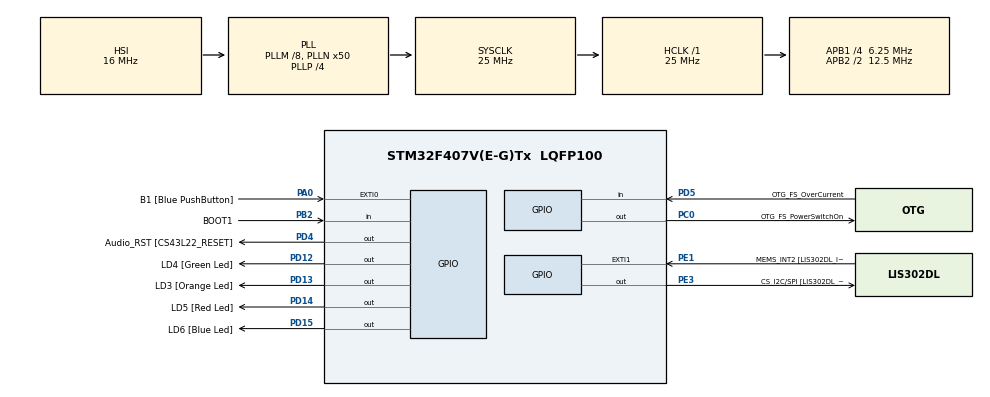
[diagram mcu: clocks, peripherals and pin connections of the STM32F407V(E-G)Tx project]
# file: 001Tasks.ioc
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Mcu.Family=STM32F4
Mcu.Name=STM32F407V(E-G)Tx
Mcu.Package=LQFP100
NVIC.PriorityGroup=NVIC_PRIORITYGROUP_0
NVIC.TIM6_DAC_IRQn=true\:0\:0\:false\:false\:true\:false\:true\:true
NVIC.TimeBase=TIM6_DAC_IRQn
NVIC.TimeBaseIP=TIM6
PA0-WKUP.GPIO_Label=B1 [Blue PushButton]
PA0-WKUP.Signal=GPXTI0
PA10.GPIO_Label=OTG_FS_ID
PA10.GPIO_Mode=GPIO_MODE_AF_PP
PA10.GPIO_PuPd=GPIO_NOPULL
PA10.GPIO_Speed=GPIO_SPEED_FREQ_LOW
PA10.Signal=USB_OTG_FS_ID
PA11.GPIO_Label=OTG_FS_DM
PA11.GPIO_Mode=GPIO_MODE_AF_PP
PA11.GPIO_PuPd=GPIO_NOPULL
PA11.GPIO_Speed=GPIO_SPEED_FREQ_LOW
PA11.Signal=USB_OTG_FS_DM
PA12.GPIO_Label=OTG_FS_DP
PA12.GPIO_Mode=GPIO_MODE_AF_PP
PA12.GPIO_PuPd=GPIO_NOPULL
PA12.GPIO_Speed=GPIO_SPEED_FREQ_LOW
PA12.Signal=USB_OTG_FS_DP
PA13.GPIO_Label=SWDIO
PA13.Signal=SYS_JTMS-SWDIO
PA14.GPIO_Label=SWCLK
PA14.Signal=SYS_JTCK-SWCLK
PA4.GPIO_Label=I2S3_WS [CS43L22_LRCK]
PA4.GPIO_Mode=GPIO_MODE_AF_PP
PA4.GPIO_PuPd=GPIO_NOPULL
PA4.GPIO_Speed=GPIO_SPEED_FREQ_LOW
PA4.Signal=I2S3_WS
PA5.GPIO_Label=SPI1_SCK [LIS302DL_SCL/SPC]
PA5.GPIO_Mode=GPIO_MODE_AF_PP
PA5.GPIO_PuPd=GPIO_NOPULL
PA5.GPIO_Speed=GPIO_SPEED_FREQ_LOW
PA5.Signal=SPI1_SCK
PA6.GPIO_Label=SPI1_MISO [LIS302DL_SDO]
PA6.GPIO_Mode=GPIO_MODE_AF_PP
PA6.GPIO_PuPd=GPIO_NOPULL
PA6.GPIO_Speed=GPIO_SPEED_FREQ_LOW
PA6.Signal=SPI1_MISO
PA7.GPIO_Label=SPI1_MOSI [LIS302DL_SDA/SDI/SDO]
PA7.GPIO_Mode=GPIO_MODE_AF_PP
PA7.GPIO_PuPd=GPIO_NOPULL
PA7.GPIO_Speed=GPIO_SPEED_FREQ_LOW
PA7.Signal=SPI1_MOSI
PA9.GPIO_Label=VBUS_FS
PA9.GPIO_Mode=GPIO_MODE_INPUT
PA9.GPIO_PuPd=GPIO_NOPULL
PA9.Signal=USB_OTG_FS_VBUS
PB10.GPIO_Label=CLK_IN [MP45DT02_CLK]
PB10.GPIO_Mode=GPIO_MODE_AF_PP
PB10.GPIO_PuPd=GPIO_NOPULL
PB10.GPIO_Speed=GPIO_SPEED_FREQ_LOW
PB10.Signal=I2S2_CK
PB2.GPIO_Label=BOOT1
PB2.GPIO_Mode=GPIO_MODE_INPUT
PB2.GPIO_PuPd=GPIO_NOPULL
PB2.Signal=GPIO_Input
PB3.GPIO_Label=SWO
PB3.Signal=SYS_JTDO-SWO
PB6.GPIO_Label=Audio_SCL [CS43L22_SCL]
PB6.GPIO_Mode=GPIO_MODE_AF_OD
PB6.GPIO_PuPd=GPIO_NOPULL
PB6.GPIO_Speed=GPIO_SPEED_FREQ_LOW
PB6.Signal=I2C1_SCL
PB9.GPIO_Label=Audio_SDA [CS43L22_SDA]
PB9.GPIO_Mode=GPIO_MODE_AF_OD
PB9.GPIO_PuPd=GPIO_NOPULL
PB9.GPIO_Speed=GPIO_SPEED_FREQ_LOW
PB9.Signal=I2C1_SDA
PC0.GPIO_Label=OTG_FS_PowerSwitchOn
PC0.GPIO_PuPd=GPIO_NOPULL
PC0.GPIO_Speed=GPIO_SPEED_FREQ_LOW
PC0.PinState=GPIO_PIN_SET
PC0.Signal=GPIO_Output
PC10.GPIO_Label=I2S3_SCK [CS43L22_SCLK]
PC10.GPIO_Mode=GPIO_MODE_AF_PP
PC10.GPIO_PuPd=GPIO_NOPULL
PC10.GPIO_Speed=GPIO_SPEED_FREQ_LOW
PC10.Signal=I2S3_CK
PC12.GPIO_Label=I2S3_SD [CS43L22_SDIN]
PC12.GPIO_Mode=GPIO_MODE_AF_PP
PC12.GPIO_PuPd=GPIO_NOPULL
PC12.GPIO_Speed=GPIO_SPEED_FREQ_LOW
PC12.Signal=I2S3_SD
PC14-OSC32_IN.GPIO_Label=PC14-OSC32_IN
PC14-OSC32_IN.Signal=RCC_OSC32_IN
PC15-OSC32_OUT.GPIO_Label=PC15-OSC32_OUT
PC15-OSC32_OUT.Signal=RCC_OSC32_OUT
PC3.GPIO_Label=PDM_OUT [MP45DT02_DOUT]
PC3.GPIO_Mode=GPIO_MODE_AF_PP
PC3.GPIO_PuPd=GPIO_NOPULL
PC3.GPIO_Speed=GPIO_SPEED_FREQ_LOW
PC3.Signal=I2S2_SD
PC7.GPIO_Label=I2S3_MCK [CS43L22_MCLK]
PC7.GPIO_Mode=GPIO_MODE_AF_PP
PC7.GPIO_PuPd=GPIO_NOPULL
PC7.GPIO_Speed=GPIO_SPEED_FREQ_LOW
PC7.Signal=I2S3_MCK
PD12.GPIO_Label=LD4 [Green Led]
PD12.GPIO_PuPd=GPIO_NOPULL
PD12.GPIO_Speed=GPIO_SPEED_FREQ_LOW
PD12.Signal=GPIO_Output
PD13.GPIO_Label=LD3 [Orange Led]
PD13.GPIO_PuPd=GPIO_NOPULL
PD13.GPIO_Speed=GPIO_SPEED_FREQ_LOW
PD13.Signal=GPIO_Output
PD14.GPIO_Label=LD5 [Red Led]
PD14.GPIO_PuPd=GPIO_NOPULL
PD14.GPIO_Speed=GPIO_SPEED_FREQ_LOW
PD14.Signal=GPIO_Output
PD15.GPIO_Label=LD6 [Blue Led]
PD15.GPIO_PuPd=GPIO_NOPULL
PD15.GPIO_Speed=GPIO_SPEED_FREQ_LOW
PD15.Signal=GPIO_Output
PD4.GPIO_Label=Audio_RST [CS43L22_RESET]
PD4.GPIO_PuPd=GPIO_NOPULL
PD4.GPIO_Speed=GPIO_SPEED_FREQ_LOW
PD4.Signal=GPIO_Output
PD5.GPIO_Label=OTG_FS_OverCurrent
PD5.GPIO_Mode=GPIO_MODE_INPUT
PD5.GPIO_PuPd=GPIO_NOPULL
PD5.Signal=GPIO_Input
PE1.GPIO_Label=MEMS_INT2 [LIS302DL_INT2]
PE1.GPIO_ModeDefaultEXTI=GPIO_MODE_EVT_RISING
PE1.GPIO_PuPd=GPIO_NOPULL
PE1.Signal=GPXTI1
PE3.GPIO_Label=CS_I2C/SPI [LIS302DL_CS_I2C/SPI]
PE3.GPIO_PuPd=GPIO_NOPULL
PE3.GPIO_Speed=GPIO_SPEED_FREQ_LOW
PE3.Signal=GPIO_Output
PH0-OSC_IN.GPIO_Label=PH0-OSC_IN
PH0-OSC_IN.Signal=RCC_OSC_IN
PH1-OSC_OUT.GPIO_Label=PH1-OSC_OUT
PH1-OSC_OUT.Signal=RCC_OSC_OUT
ProjectManager.HeapSize=0x200
ProjectManager.StackSize=0x400
ProjectManager.TargetToolchain=STM32CubeIDE
RCC.48MHZClocksFreq_Value=14285714.285714285
RCC.AHBFreq_Value=25000000
RCC.APB1CLKDivider=RCC_HCLK_DIV4
RCC.APB1Freq_Value=6250000
RCC.APB1TimFreq_Value=12500000
RCC.APB2CLKDivider=RCC_HCLK_DIV2
RCC.APB2Freq_Value=12500000
RCC.APB2TimFreq_Value=25000000
RCC.CortexFreq_Value=25000000
RCC.HCLKFreq_Value=25000000
RCC.HSE_VALUE=8000000
RCC.HSI_VALUE=16000000
RCC.LSE_VALUE=32768
RCC.PLLM=8
RCC.PLLN=50
RCC.PLLP=RCC_PLLP_DIV4
RCC.PLLQ=7
RCC.SYSCLKFreq_VALUE=25000000
RCC.SYSCLKSource=RCC_SYSCLKSOURCE_PLLCLK
RCC.VCOOutputFreq_Value=100000000
VP_SYS_VS_tim6.Mode=TIM6
board=STM32F407G-DISC1

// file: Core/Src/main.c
/* USER CODE BEGIN Header */
/**
  ******************************************************************************
  * @file           : main.c
  * @brief          : Main program body
  ******************************************************************************
  * @attention
  *
  * Copyright (c) 2024 STMicroelectronics.
  * All rights reserved.
  *
  * This software is licensed under terms that can be found in the LICENSE file
  * in the root directory of this software component.
  * If no LICENSE file comes with this software, it is provided AS-IS.
  *
  ******************************************************************************
  */
/* USER CODE END Header */
#include "main.h"

/* USER CODE BEGIN Includes */
#include <stdio.h>
#include "FreeRTOS.h"
#include "task.h"

/* USER CODE END Includes */

/* USER CODE BEGIN PV */

#define DWT_CTRL		(*(volatile uint32_t *) 0xE0001000U)

/* USER CODE END PV */

void SystemClock_Config(void);
static void MX_GPIO_Init(void);
/* USER CODE BEGIN PFP */
static void task1_handler(void *params);
static void task2_handler(void *params);

/* USER CODE END PFP */

int main(void)
{
  /* USER CODE BEGIN 1 */

	BaseType_t status;
	TaskHandle_t task1_handle;
	TaskHandle_t task2_handle;

  /* USER CODE END 1 */

  /* MCU Configuration--------------------------------------------------------*/

  /* Reset of all peripherals, Initializes the Flash interface and the Systick. */
  HAL_Init();

  /* Configure the system clock */
  SystemClock_Config();

  /* Initialize all configured peripherals */
  MX_GPIO_Init();
  /* USER CODE BEGIN 2 */

  //Configure the Interrupt Priority Grouping
  //HAL_NVIC_SetPriorityGrouping(NVIC_PRIORITYGROUP_4);

  //Enable the DWT (Data Watch Point) Cycle Count Feature
  DWT_CTRL |= (1 << 0);

  //Enabling SEGGER SYSVIEW event tracing
  SEGGER_SYSVIEW_Conf();
  SEGGER_SYSVIEW_Start();

  status = xTaskCreate(task1_handler,"Task-1",200,"Hello from Task-1",0,&task1_handle);

  configASSERT(status == pdPASS);

  status = xTaskCreate(task2_handler,"Task-2",200,"Hello from Task-2",0,&task2_handle);

  configASSERT(status == pdPASS);

  vTaskStartScheduler();

  /* USER CODE END 2 */

  /* Infinite loop */
  while (1)
  {

  }
}

void SystemClock_Config(void)
{
  RCC_OscInitTypeDef RCC_OscInitStruct = {0};
  RCC_ClkInitTypeDef RCC_ClkInitStruct = {0};

  /** Configure the main internal regulator output voltage
  */
  __HAL_RCC_PWR_CLK_ENABLE();
  __HAL_PWR_VOLTAGESCALING_CONFIG(PWR_REGULATOR_VOLTAGE_SCALE1);

  /** Initializes the RCC Oscillators according to the specified parameters
  * in the RCC_OscInitTypeDef structure.
  */
  RCC_OscInitStruct.OscillatorType = RCC_OSCILLATORTYPE_HSI;
  RCC_OscInitStruct.HSIState = RCC_HSI_ON;
  RCC_OscInitStruct.HSICalibrationValue = RCC_HSICALIBRATION_DEFAULT;
  RCC_OscInitStruct.PLL.PLLState = RCC_PLL_ON;
  RCC_OscInitStruct.PLL.PLLSource = RCC_PLLSOURCE_HSI;
  RCC_OscInitStruct.PLL.PLLM = 8;
  RCC_OscInitStruct.PLL.PLLN = 50;
  RCC_OscInitStruct.PLL.PLLP = RCC_PLLP_DIV4;
  RCC_OscInitStruct.PLL.PLLQ = 7;
  if (HAL_RCC_OscConfig(&RCC_OscInitStruct) != HAL_OK)
  {
    Error_Handler();
  }

  /** Initializes the CPU, AHB and APB buses clocks
  */
  RCC_ClkInitStruct.ClockType = RCC_CLOCKTYPE_HCLK|RCC_CLOCKTYPE_SYSCLK
                              |RCC_CLOCKTYPE_PCLK1|RCC_CLOCKTYPE_PCLK2;
  RCC_ClkInitStruct.SYSCLKSource = RCC_SYSCLKSOURCE_PLLCLK;
  RCC_ClkInitStruct.AHBCLKDivider = RCC_SYSCLK_DIV1;
  RCC_ClkInitStruct.APB1CLKDivider = RCC_HCLK_DIV4;
  RCC_ClkInitStruct.APB2CLKDivider = RCC_HCLK_DIV2;

  if (HAL_RCC_ClockConfig(&RCC_ClkInitStruct, FLASH_LATENCY_0) != HAL_OK)
  {
    Error_Handler();
  }
}

static void MX_GPIO_Init(void)
{
  GPIO_InitTypeDef GPIO_InitStruct = {0};

  /* GPIO Ports Clock Enable */
  __HAL_RCC_GPIOE_CLK_ENABLE();
  __HAL_RCC_GPIOC_CLK_ENABLE();
  __HAL_RCC_GPIOH_CLK_ENABLE();
  __HAL_RCC_GPIOA_CLK_ENABLE();
  __HAL_RCC_GPIOB_CLK_ENABLE();
  __HAL_RCC_GPIOD_CLK_ENABLE();

  /*Configure GPIO pin Output Level */
  HAL_GPIO_WritePin(CS_I2C_SPI_GPIO_Port, CS_I2C_SPI_Pin, GPIO_PIN_RESET);

  /*Configure GPIO pin Output Level */
  HAL_GPIO_WritePin(OTG_FS_PowerSwitchOn_GPIO_Port, OTG_FS_PowerSwitchOn_Pin, GPIO_PIN_SET);

  /*Configure GPIO pin Output Level */
  HAL_GPIO_WritePin(GPIOD, LD4_Pin|LD3_Pin|LD5_Pin|LD6_Pin
                          |Audio_RST_Pin, GPIO_PIN_RESET);

  /*Configure GPIO pin : CS_I2C_SPI_Pin */
  GPIO_InitStruct.Pin = CS_I2C_SPI_Pin;
  GPIO_InitStruct.Mode = GPIO_MODE_OUTPUT_PP;
  GPIO_InitStruct.Pull = GPIO_NOPULL;
  GPIO_InitStruct.Speed = GPIO_SPEED_FREQ_LOW;
  HAL_GPIO_Init(CS_I2C_SPI_GPIO_Port, &GPIO_InitStruct);

  /*Configure GPIO pin : OTG_FS_PowerSwitchOn_Pin */
  GPIO_InitStruct.Pin = OTG_FS_PowerSwitchOn_Pin;
  GPIO_InitStruct.Mode = GPIO_MODE_OUTPUT_PP;
  GPIO_InitStruct.Pull = GPIO_NOPULL;
  GPIO_InitStruct.Speed = GPIO_SPEED_FREQ_LOW;
  HAL_GPIO_Init(OTG_FS_PowerSwitchOn_GPIO_Port, &GPIO_InitStruct);

  /*Configure GPIO pin : PDM_OUT_Pin */
  GPIO_InitStruct.Pin = PDM_OUT_Pin;
  GPIO_InitStruct.Mode = GPIO_MODE_AF_PP;
  GPIO_InitStruct.Pull = GPIO_NOPULL;
  GPIO_InitStruct.Speed = GPIO_SPEED_FREQ_LOW;
  GPIO_InitStruct.Alternate = GPIO_AF5_SPI2;
  HAL_GPIO_Init(PDM_OUT_GPIO_Port, &GPIO_InitStruct);

  /*Configure GPIO pin : B1_Pin */
  GPIO_InitStruct.Pin = B1_Pin;
  GPIO_InitStruct.Mode = GPIO_MODE_IT_RISING;
  GPIO_InitStruct.Pull = GPIO_NOPULL;
  HAL_GPIO_Init(B1_GPIO_Port, &GPIO_InitStruct);

  /*Configure GPIO pin : I2S3_WS_Pin */
  GPIO_InitStruct.Pin = I2S3_WS_Pin;
  GPIO_InitStruct.Mode = GPIO_MODE_AF_PP;
  GPIO_InitStruct.Pull = GPIO_NOPULL;
  GPIO_InitStruct.Speed = GPIO_SPEED_FREQ_LOW;
  GPIO_InitStruct.Alternate = GPIO_AF6_SPI3;
  HAL_GPIO_Init(I2S3_WS_GPIO_Port, &GPIO_InitStruct);

  /*Configure GPIO pins : SPI1_SCK_Pin SPI1_MISO_Pin SPI1_MOSI_Pin */
  GPIO_InitStruct.Pin = SPI1_SCK_Pin|SPI1_MISO_Pin|SPI1_MOSI_Pin;
  GPIO_InitStruct.Mode = GPIO_MODE_AF_PP;
  GPIO_InitStruct.Pull = GPIO_NOPULL;
  GPIO_InitStruct.Speed = GPIO_SPEED_FREQ_LOW;
  GPIO_InitStruct.Alternate = GPIO_AF5_SPI1;
  HAL_GPIO_Init(GPIOA, &GPIO_InitStruct);

  /*Configure GPIO pin : BOOT1_Pin */
  GPIO_InitStruct.Pin = BOOT1_Pin;
  GPIO_InitStruct.Mode = GPIO_MODE_INPUT;
  GPIO_InitStruct.Pull = GPIO_NOPULL;
  HAL_GPIO_Init(BOOT1_GPIO_Port, &GPIO_InitStruct);

  /*Configure GPIO pin : CLK_IN_Pin */
  GPIO_InitStruct.Pin = CLK_IN_Pin;
  GPIO_InitStruct.Mode = GPIO_MODE_AF_PP;
  GPIO_InitStruct.Pull = GPIO_NOPULL;
  GPIO_InitStruct.Speed = GPIO_SPEED_FREQ_LOW;
  GPIO_InitStruct.Alternate = GPIO_AF5_SPI2;
  HAL_GPIO_Init(CLK_IN_GPIO_Port, &GPIO_InitStruct);

  /*Configure GPIO pins : LD4_Pin LD3_Pin LD5_Pin LD6_Pin
                           Audio_RST_Pin */
  GPIO_InitStruct.Pin = LD4_Pin|LD3_Pin|LD5_Pin|LD6_Pin
                          |Audio_RST_Pin;
  GPIO_InitStruct.Mode = GPIO_MODE_OUTPUT_PP;
  GPIO_InitStruct.Pull = GPIO_NOPULL;
  GPIO_InitStruct.Speed = GPIO_SPEED_FREQ_LOW;
  HAL_GPIO_Init(GPIOD, &GPIO_InitStruct);

  /*Configure GPIO pins : I2S3_MCK_Pin I2S3_SCK_Pin I2S3_SD_Pin */
  GPIO_InitStruct.Pin = I2S3_MCK_Pin|I2S3_SCK_Pin|I2S3_SD_Pin;
  GPIO_InitStruct.Mode = GPIO_MODE_AF_PP;
  GPIO_InitStruct.Pull = GPIO_NOPULL;
  GPIO_InitStruct.Speed = GPIO_SPEED_FREQ_LOW;
  GPIO_InitStruct.Alternate = GPIO_AF6_SPI3;
  HAL_GPIO_Init(GPIOC, &GPIO_InitStruct);

  /*Configure GPIO pin : VBUS_FS_Pin */
  GPIO_InitStruct.Pin = VBUS_FS_Pin;
  GPIO_InitStruct.Mode = GPIO_MODE_INPUT;
  GPIO_InitStruct.Pull = GPIO_NOPULL;
  HAL_GPIO_Init(VBUS_FS_GPIO_Port, &GPIO_InitStruct);

  /*Configure GPIO pins : OTG_FS_ID_Pin OTG_FS_DM_Pin OTG_FS_DP_Pin */
  GPIO_InitStruct.Pin = OTG_FS_ID_Pin|OTG_FS_DM_Pin|OTG_FS_DP_Pin;
  GPIO_InitStruct.Mode = GPIO_MODE_AF_PP;
  GPIO_InitStruct.Pull = GPIO_NOPULL;
  GPIO_InitStruct.Speed = GPIO_SPEED_FREQ_LOW;
  GPIO_InitStruct.Alternate = GPIO_AF10_OTG_FS;
  HAL_GPIO_Init(GPIOA, &GPIO_InitStruct);

  /*Configure GPIO pin : OTG_FS_OverCurrent_Pin */
  GPIO_InitStruct.Pin = OTG_FS_OverCurrent_Pin;
  GPIO_InitStruct.Mode = GPIO_MODE_INPUT;
  GPIO_InitStruct.Pull = GPIO_NOPULL;
  HAL_GPIO_Init(OTG_FS_OverCurrent_GPIO_Port, &GPIO_InitStruct);

  /*Configure GPIO pins : Audio_SCL_Pin Audio_SDA_Pin */
  GPIO_InitStruct.Pin = Audio_SCL_Pin|Audio_SDA_Pin;
  GPIO_InitStruct.Mode = GPIO_MODE_AF_OD;
  GPIO_InitStruct.Pull = GPIO_NOPULL;
  GPIO_InitStruct.Speed = GPIO_SPEED_FREQ_LOW;
  GPIO_InitStruct.Alternate = GPIO_AF4_I2C1;
  HAL_GPIO_Init(GPIOB, &GPIO_InitStruct);

  /*Configure GPIO pin : MEMS_INT2_Pin */
  GPIO_InitStruct.Pin = MEMS_INT2_Pin;
  GPIO_InitStruct.Mode = GPIO_MODE_EVT_RISING;
  GPIO_InitStruct.Pull = GPIO_NOPULL;
  HAL_GPIO_Init(MEMS_INT2_GPIO_Port, &GPIO_InitStruct);

}

/* USER CODE BEGIN 4 */

static void task1_handler(void *params)
{
	while(1)
	{
		printf("%s\n",(char *)params);
		//taskYIELD();
	}

	vTaskDelete(NULL);

}

static void task2_handler(void *params)
{
	while(1)
	{
		printf("%s\n",(char *)params);
		//taskYIELD();
	}

	vTaskDelete(NULL);
}

/* USER CODE END 4 */

void HAL_TIM_PeriodElapsedCallback(TIM_HandleTypeDef *htim)
{
  if (htim->Instance == TIM6) {
    HAL_IncTick();
  }
}

void Error_Handler(void)
{
  __disable_irq();
  while (1)
  {
  }
}
